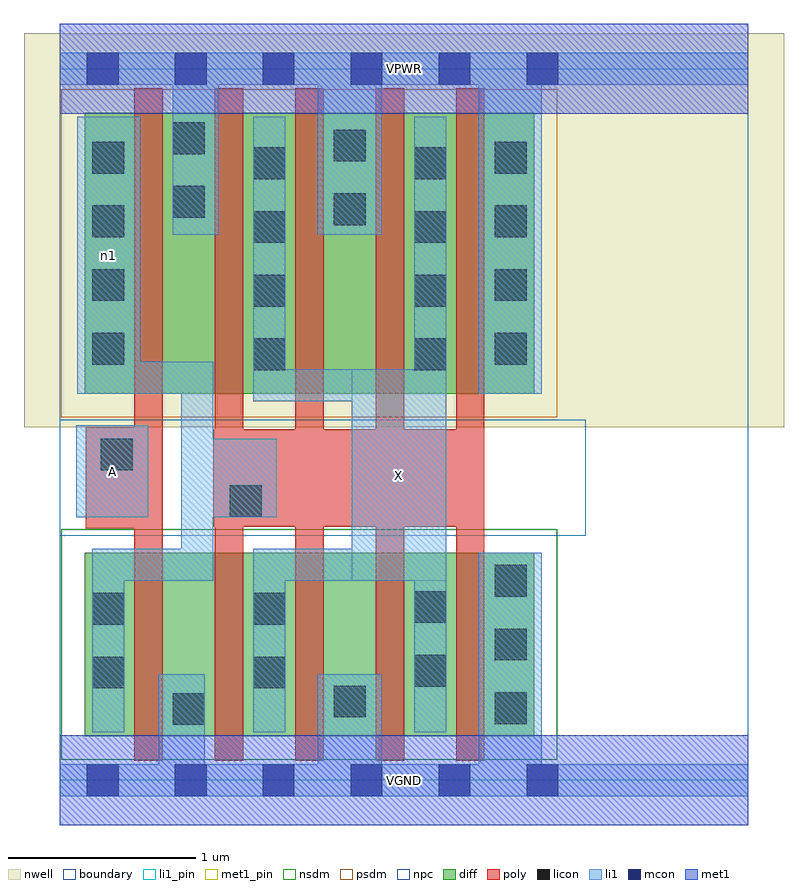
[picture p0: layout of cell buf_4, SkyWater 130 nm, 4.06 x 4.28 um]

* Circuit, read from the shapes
.subckt buf_4 A VGND VPWR X n1
XM1 VGND A n1 VSUBS sky130_fd_pr__nfet_01v8 w=0.98 l=0.15
XM2 X n1 VGND VSUBS sky130_fd_pr__nfet_01v8 w=0.98 l=0.15 m=4
XM3 VPWR A n1 n2 sky130_fd_pr__pfet_01v8 w=1.5 l=0.15
XM4 X n1 VPWR n2 sky130_fd_pr__pfet_01v8 w=1.5 l=0.15 m=4
.ends

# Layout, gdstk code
import gdstk
lib = gdstk.Library(unit=1e-6, precision=1e-09)
def R(c, l, rs):  # rectangles x0, y0, x1, y1
    for r in rs: c.add(gdstk.rectangle(r[:2], r[2:], *l))
def A(c, l, x, y, w, h, nx, ny, dx, dy):  # array of equal rectangles
    R(c, l, [(x+i*dx, y+j*dy, x+i*dx+w, y+j*dy+h) for i in range(nx) for j in range(ny)])
nwell = (64, 20)
diff = (65, 20)
poly = (66, 20)
licon = (66, 44)
li1_pin = (67, 16)
li1 = (67, 20)
mcon = (67, 44)
met1_pin = (68, 16)
met1 = (68, 20)
nsdm = (93, 44)
psdm = (94, 20)
npc = (95, 20)
boundary = (235, 4)

buf_4 = lib.new_cell('buf_4')
R(buf_4, nwell, [(-0.19,1.885,3.87,3.99), (0,1.885,3.68,3.99)])
R(buf_4, diff, [(0.135,0.235,2.535,1.215), (0.135,2.065,2.535,3.565)])
A(buf_4, poly, 0.4, 0.105, 0.15, 3.59, 5, 1, 0.43, 0)
R(buf_4, poly, [(0.14,1.345,0.55,1.885), (0.82,1.355,2.27,1.875)])
A(buf_4, licon, 2.325, 0.3, 0.17, 0.17, 1, 3, 0, 0.34)
A(buf_4, licon, 1.035, 2.19, 0.17, 0.17, 1, 4, 0, 0.34)
A(buf_4, licon, 1.895, 2.19, 0.17, 0.17, 1, 4, 0, 0.34)
A(buf_4, licon, 0.175, 2.22, 0.17, 0.17, 1, 4, 0, 0.34)
A(buf_4, licon, 2.325, 2.22, 0.17, 0.17, 1, 4, 0, 0.34)
R(buf_4, licon, [(0.605,0.295,0.775,0.465), (1.465,0.335,1.635,0.505), (0.175,0.49,0.345,0.66), (1.035,0.49,1.205,0.66), (1.895,0.5,2.065,0.67), (0.175,0.83,0.345,1), (1.035,0.83,1.205,1), (1.895,0.84,2.065,1.01), (0.91,1.405,1.08,1.575), (0.22,1.655,0.39,1.825), (1.465,2.965,1.635,3.135), (0.605,3.005,0.775,3.175), (1.465,3.305,1.635,3.475), (0.605,3.345,0.775,3.515)])
R(buf_4, li1_pin, [(1.56,1.065,2.065,2.195), (0.09,1.405,0.475,1.895)])
R(buf_4, li1, [(0,-0.085,3.68,0.085), (0.53,-0.085,0.775,0.565), (1.38,-0.085,1.72,0.565), (2.24,-0.085,2.575,1.215), (0.175,0.255,0.345,1.235), (1.035,0.255,1.205,1.235), (1.895,0.255,2.065,3.545), (0.175,1.065,0.82,1.235), (0.65,1.065,0.82,2.235), (1.035,1.065,2.065,1.235), (1.56,1.065,2.065,2.195), (0.09,1.405,0.475,1.895), (0.65,1.405,1.16,1.825), (1.035,2.025,2.065,2.195), (1.035,2.025,1.205,3.545), (0.095,2.065,0.43,3.545), (0.095,2.065,0.82,2.235), (2.24,2.065,2.575,3.885), (0.605,2.915,0.85,3.885), (1.38,2.915,1.72,3.885), (0,3.715,3.68,3.885)])
A(buf_4, mcon, 0.145, -0.085, 0.17, 0.17, 6, 2, 0.47, 3.8)
R(buf_4, met1_pin, [(0,-0.24,3.68,0.24), (0,3.56,3.68,4.04)])
R(buf_4, met1, [(0,-0.24,3.68,0.24), (0,3.56,3.68,4.04)])
R(buf_4, nsdm, [(0.01,0.11,2.66,1.34)])
R(buf_4, psdm, [(0.01,1.94,2.66,3.69)])
R(buf_4, npc, [(0,1.305,2.81,1.925)])
R(buf_4, boundary, [(0,0,3.68,3.8)])
buf_4.add(gdstk.Label('A', (0.282,1.65), layer=67, texttype=5))
buf_4.add(gdstk.Label('X', (1.812,1.63), layer=67, texttype=5))
buf_4.add(gdstk.Label('n1', (0.262,2.805), layer=67, texttype=5))
buf_4.add(gdstk.Label('VPWR', (1.84,3.8), layer=68, texttype=5))
buf_4.add(gdstk.Label('VGND', (1.84,0), layer=68, texttype=5))
buf_4.add(gdstk.Label('A', (0.282,1.65), layer=67, texttype=16))
buf_4.add(gdstk.Label('X', (1.812,1.63), layer=67, texttype=16))
buf_4.add(gdstk.Label('VPWR', (1.84,3.8), layer=68, texttype=16))
buf_4.add(gdstk.Label('VGND', (1.84,0), layer=68, texttype=16))

lib.write_gds('buf_4.gds')
